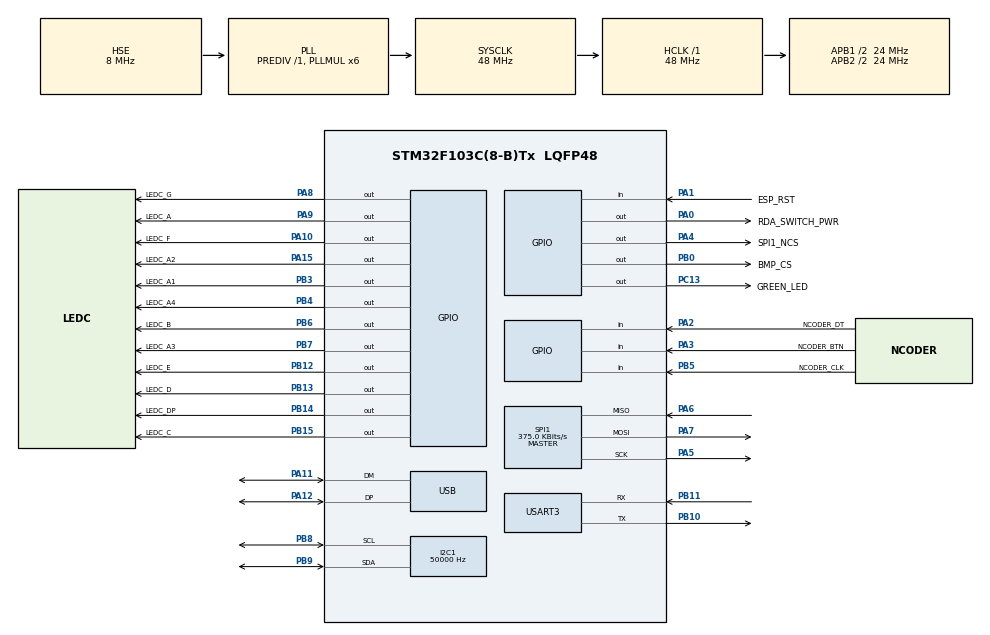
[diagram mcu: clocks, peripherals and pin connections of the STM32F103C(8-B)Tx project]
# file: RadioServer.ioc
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Dma.Request0=USART3_RX
Dma.USART3_RX.0.Direction=DMA_PERIPH_TO_MEMORY
Dma.USART3_RX.0.Instance=DMA1_Channel3
Dma.USART3_RX.0.MemDataAlignment=DMA_MDATAALIGN_BYTE
Dma.USART3_RX.0.MemInc=DMA_MINC_ENABLE
Dma.USART3_RX.0.Mode=DMA_CIRCULAR
Dma.USART3_RX.0.PeriphDataAlignment=DMA_PDATAALIGN_BYTE
Dma.USART3_RX.0.PeriphInc=DMA_PINC_DISABLE
Dma.USART3_RX.0.Priority=DMA_PRIORITY_LOW
I2C1.ClockSpeed=50000
Mcu.Family=STM32F1
Mcu.Name=STM32F103C(8-B)Tx
Mcu.Package=LQFP48
NVIC.DMA1_Channel3_IRQn=true\:0\:0\:false\:false\:true\:false\:true
NVIC.PriorityGroup=NVIC_PRIORITYGROUP_4
NVIC.RCC_IRQn=true\:0\:0\:false\:false\:true\:true\:false
NVIC.TIM2_IRQn=true\:0\:0\:false\:false\:true\:true\:true
NVIC.USB_LP_CAN1_RX0_IRQn=true\:0\:0\:false\:false\:true\:false\:true
PA0-WKUP.GPIO_Label=RDA_SWITCH_PWR
PA0-WKUP.PinState=GPIO_PIN_RESET
PA0-WKUP.Signal=GPIO_Output
PA1.GPIO_Label=ESP_RST
PA1.Signal=GPIO_Input
PA10.GPIO_Label=LEDC_F
PA10.GPIO_Speed=GPIO_SPEED_FREQ_LOW
PA10.Signal=GPIO_Output
PA11.Mode=Device
PA11.Signal=USB_DM
PA12.Mode=Device
PA12.Signal=USB_DP
PA13.Mode=Serial_Wire
PA13.Signal=SYS_JTMS-SWDIO
PA14.Mode=Serial_Wire
PA14.Signal=SYS_JTCK-SWCLK
PA15.GPIO_Label=LEDC_A2
PA15.PinState=GPIO_PIN_SET
PA15.Signal=GPIO_Output
PA2.GPIO_Label=NCODER_DT
PA2.Signal=GPIO_Input
PA3.GPIO_Label=NCODER_BTN
PA3.Signal=GPIO_Input
PA4.GPIO_Label=SPI1_NCS
PA4.GPIO_Speed=GPIO_SPEED_FREQ_HIGH
PA4.PinState=GPIO_PIN_SET
PA4.Signal=GPIO_Output
PA5.Mode=Full_Duplex_Master
PA5.Signal=SPI1_SCK
PA6.Mode=Full_Duplex_Master
PA6.Signal=SPI1_MISO
PA7.Mode=Full_Duplex_Master
PA7.Signal=SPI1_MOSI
PA8.GPIO_Label=LEDC_G
PA8.Signal=GPIO_Output
PA9.GPIO_Label=LEDC_A
PA9.Signal=GPIO_Output
PB0.GPIO_Label=BMP_CS
PB0.PinState=GPIO_PIN_SET
PB0.Signal=GPIO_Output
PB10.Mode=Asynchronous
PB10.Signal=USART3_TX
PB11.Mode=Asynchronous
PB11.Signal=USART3_RX
PB12.GPIO_Label=LEDC_E
PB12.Signal=GPIO_Output
PB13.GPIO_Label=LEDC_D
PB13.Signal=GPIO_Output
PB14.GPIO_Label=LEDC_DP
PB14.Signal=GPIO_Output
PB15.GPIO_Label=LEDC_C
PB15.Signal=GPIO_Output
PB3.GPIO_Label=LEDC_A1
PB3.PinState=GPIO_PIN_SET
PB3.Signal=GPIO_Output
PB4.GPIO_Label=LEDC_A4
PB4.PinState=GPIO_PIN_SET
PB4.Signal=GPIO_Output
PB5.GPIO_Label=NCODER_CLK
PB5.Signal=GPIO_Input
PB6.GPIO_Label=LEDC_B
PB6.GPIO_Speed=GPIO_SPEED_FREQ_LOW
PB6.PinState=GPIO_PIN_RESET
PB6.Signal=GPIO_Output
PB7.GPIO_Label=LEDC_A3
PB7.PinState=GPIO_PIN_SET
PB7.Signal=GPIO_Output
PB8.Mode=I2C
PB8.Signal=I2C1_SCL
PB9.Mode=I2C
PB9.Signal=I2C1_SDA
PC13-TAMPER-RTC.GPIO_Label=GREEN_LED
PC13-TAMPER-RTC.PinState=GPIO_PIN_SET
PC13-TAMPER-RTC.Signal=GPIO_Output
PC14-OSC32_IN.Mode=LSE-External-Oscillator
PC14-OSC32_IN.Signal=RCC_OSC32_IN
PC15-OSC32_OUT.Mode=LSE-External-Oscillator
PC15-OSC32_OUT.Signal=RCC_OSC32_OUT
PD0-OSC_IN.Mode=HSE-External-Oscillator
PD0-OSC_IN.Signal=RCC_OSC_IN
PD1-OSC_OUT.Mode=HSE-External-Oscillator
PD1-OSC_OUT.Signal=RCC_OSC_OUT
ProjectManager.HeapSize=0x200
ProjectManager.StackSize=0x400
ProjectManager.TargetToolchain=STM32CubeIDE
RCC.AHBFreq_Value=48000000
RCC.APB1CLKDivider=RCC_HCLK_DIV2
RCC.APB1Freq_Value=24000000
RCC.APB1TimFreq_Value=48000000
RCC.APB2CLKDivider=RCC_HCLK_DIV2
RCC.APB2Freq_Value=24000000
RCC.APB2TimFreq_Value=48000000
RCC.HCLKFreq_Value=48000000
RCC.HSICalibrationValue=8
RCC.PLLMUL=RCC_PLL_MUL6
RCC.PLLSourceVirtual=RCC_PLLSOURCE_HSE
RCC.RTCClockSelection=RCC_RTCCLKSOURCE_LSE
RCC.SYSCLKFreq_VALUE=48000000
RCC.SYSCLKSource=RCC_SYSCLKSOURCE_PLLCLK
RCC.USBFreq_Value=48000000
RTC.Format=RTC_FORMAT_BIN
SPI1.BaudRatePrescaler=SPI_BAUDRATEPRESCALER_64
SPI1.CalculateBaudRate=375.0 KBits/s
SPI1.Direction=SPI_DIRECTION_2LINES
SPI1.Mode=SPI_MODE_MASTER
SPI1.VirtualType=VM_MASTER
TIM2.Channel-Output\ Compare1\ No\ Output=TIM_CHANNEL_1
TIM2.Period=4999
TIM2.Prescaler=48
USART3.VirtualMode=VM_ASYNC
USB_DEVICE.CLASS_NAME_FS=CDC
USB_DEVICE.VirtualMode=Cdc
USB_DEVICE.VirtualModeFS=Cdc_FS
VP_RTC_No_RTC_Output.Mode=RTC_OUT_NO
VP_RTC_VS_RTC_Activate.Mode=RTC_Enabled
VP_TIM2_VS_no_output1.Mode=Output Compare1 No Output
VP_USB_DEVICE_VS_USB_DEVICE_CDC_FS.Mode=CDC_FS
board=custom

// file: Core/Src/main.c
/* USER CODE BEGIN Header */
/**
  ******************************************************************************
  * @file           : main.c
  * @brief          : Main program body
  ******************************************************************************
  * @attention
  *
  * Copyright (c) 2022 STMicroelectronics.
  * All rights reserved.
  *
  * This software is licensed under terms that can be found in the LICENSE file
  * in the root directory of this software component.
  * If no LICENSE file comes with this software, it is provided AS-IS.
  *
  ******************************************************************************
  */
/* USER CODE END Header */
#include "main.h"
#include "dma.h"
#include "i2c.h"
#include "rtc.h"
#include "spi.h"
#include "tim.h"
#include "usart.h"
#include "usb_device.h"
#include "gpio.h"

/* USER CODE BEGIN Includes */
#include <string.h>
#include <stdio.h>

#include "stm32f1xx_hal_conf.h"
#include "usbd_cdc_if.h"

#include "esp8266_http_server.h"
#include "rda5807m.h"
#include "cmd_dispatcher.h"
#include "eeprom_25aa1024.h"

#include "bmp280.h"
#include "app.h"
/* USER CODE END Includes */

/* USER CODE BEGIN PV */
UART_HandleTypeDef huart2;
DMA_HandleTypeDef hdma_usart2_rx;

/* USER CODE END PV */

void SystemClock_Config(void);

int main(void)
{
  /* USER CODE BEGIN 1 */
	uint8_t* rxStrBuff = NULL;
	char *pHTTPReq = NULL;
	char stateMessage[APP_MESSAGE_LNG] = {0};
    uint32_t rxStrlng;
    uint32_t httpReqLng = 0;
    RTC_TimeTypeDef rtcStruct = {0};

  /* USER CODE END 1 */

  /* MCU Configuration--------------------------------------------------------*/

  /* Reset of all peripherals, Initializes the Flash interface and the Systick. */
  HAL_Init();

  /* Configure the system clock */
  SystemClock_Config();

  /* USER CODE BEGIN SysInit */
  APP_ShortcutUSB();
  /* USER CODE END SysInit */

  /* Initialize all configured peripherals */
  MX_GPIO_Init();
  MX_I2C1_Init();
  MX_TIM2_Init();
  MX_DMA_Init();
  MX_USB_DEVICE_Init();
  MX_USART3_UART_Init();
  MX_SPI1_Init();
  MX_RTC_Init();
  /* USER CODE BEGIN 2 */

  APP_LEDC_DisplayInit();
  APP_BMP280_SensorInit();
  APP_EEPROM_CheckIfOk();
  APP_RDA5807M_RadioInit();
  APP_RTC_Init();

  if (systemGlobalState.states.espEnabled)
  {
	  APP_ESP_InitConnect();
  }

  APPP_NCoderStart();

  /* USER CODE END 2 */

  /* Infinite loop */
  while (1)
  {

    /* USER CODE BEGIN 3 */

	  // VCOM RX routine
      rxStrBuff = VCOMFetchReceivedLine(&rxStrlng);

      if (NULL != rxStrBuff)
      {
          /* If so and is terminated by <LF>,
             process it as command*/
    	  BluePill_SetBlinkState(THREE_BLINKS);
          CmdDispatch(rxStrBuff, rxStrlng);
      }

	  if (systemGlobalState.states.espEnabled)
	  {
	      // Function returns ESP_RET_OK when HTTP request received
	      if(ESP_RET_OK == ESP_CheckReceiveHTTP(&pHTTPReq, &httpReqLng))
	      {
	    	  // Process the request
	    	  BluePill_SetBlinkState(THREE_BLINKS);
	          ESP_ProcessHTTP(pHTTPReq, httpReqLng);
	      }
	  }

      // If triggered display frequency, volume or time HH:MM settings
      if (NO_SETTINGS_ONGOING == APP_UserInput(stateMessage, &rtcStruct))
      {
          // Periodic time/temp display + fault detection
          APP_ModuleCheckStates(stateMessage, &rtcStruct);
      }

  }
  /* USER CODE END 3 */
}

void SystemClock_Config(void)
{
  RCC_OscInitTypeDef RCC_OscInitStruct = {0};
  RCC_ClkInitTypeDef RCC_ClkInitStruct = {0};
  RCC_PeriphCLKInitTypeDef PeriphClkInit = {0};

  /** Initializes the RCC Oscillators according to the specified parameters
  * in the RCC_OscInitTypeDef structure.
  */
  RCC_OscInitStruct.OscillatorType = RCC_OSCILLATORTYPE_HSE|RCC_OSCILLATORTYPE_LSE;
  RCC_OscInitStruct.HSEState = RCC_HSE_ON;
  RCC_OscInitStruct.HSEPredivValue = RCC_HSE_PREDIV_DIV1;
  RCC_OscInitStruct.LSEState = RCC_LSE_ON;
  RCC_OscInitStruct.HSIState = RCC_HSI_ON;
  RCC_OscInitStruct.PLL.PLLState = RCC_PLL_ON;
  RCC_OscInitStruct.PLL.PLLSource = RCC_PLLSOURCE_HSE;
  RCC_OscInitStruct.PLL.PLLMUL = RCC_PLL_MUL6;
  if (HAL_RCC_OscConfig(&RCC_OscInitStruct) != HAL_OK)
  {
    Error_Handler();
  }
  /** Initializes the CPU, AHB and APB buses clocks
  */
  RCC_ClkInitStruct.ClockType = RCC_CLOCKTYPE_HCLK|RCC_CLOCKTYPE_SYSCLK
                              |RCC_CLOCKTYPE_PCLK1|RCC_CLOCKTYPE_PCLK2;
  RCC_ClkInitStruct.SYSCLKSource = RCC_SYSCLKSOURCE_PLLCLK;
  RCC_ClkInitStruct.AHBCLKDivider = RCC_SYSCLK_DIV1;
  RCC_ClkInitStruct.APB1CLKDivider = RCC_HCLK_DIV2;
  RCC_ClkInitStruct.APB2CLKDivider = RCC_HCLK_DIV2;

  if (HAL_RCC_ClockConfig(&RCC_ClkInitStruct, FLASH_LATENCY_1) != HAL_OK)
  {
    Error_Handler();
  }
  PeriphClkInit.PeriphClockSelection = RCC_PERIPHCLK_RTC|RCC_PERIPHCLK_USB;
  PeriphClkInit.RTCClockSelection = RCC_RTCCLKSOURCE_LSE;
  PeriphClkInit.UsbClockSelection = RCC_USBCLKSOURCE_PLL;
  if (HAL_RCCEx_PeriphCLKConfig(&PeriphClkInit) != HAL_OK)
  {
    Error_Handler();
  }
}

void Error_Handler(void)
{
  __disable_irq();
  while (1)
  {
  }
}
